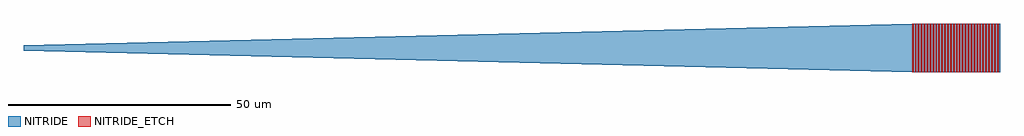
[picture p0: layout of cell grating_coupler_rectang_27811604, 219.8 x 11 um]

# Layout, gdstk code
import gdstk
lib = gdstk.Library(unit=1e-6, precision=1e-09)
def R(c, l, rs):  # rectangles x0, y0, x1, y1
    for r in rs: c.add(gdstk.rectangle(r[:2], r[2:], *l))
def A(c, l, x, y, w, h, nx, ny, dx, dy):  # array of equal rectangles
    R(c, l, [(x+i*dx, y+j*dy, x+i*dx+w, y+j*dy+h) for i in range(nx) for j in range(ny)])
def P(c, l, *ps):  # polygons
    for p in ps: c.add(gdstk.Polygon(p, *l))
NITRIDE = (203, 0)
NITRIDE_ETCH = (204, 0)

grating_coupler_rectang_ = lib.new_cell('grating_coupler_rectang_27811604')
P(grating_coupler_rectang_, NITRIDE, [(200,-5.5),(0,-0.6),(0,0.6),(200,5.5),(219.8,5.5),(219.8,-5.5)])
A(grating_coupler_rectang_, NITRIDE_ETCH, 200, -5.5, 0.33, 11, 30, 1, 0.66, 0)

lib.write_gds('grating_coupler_rectang_27811604.gds')
